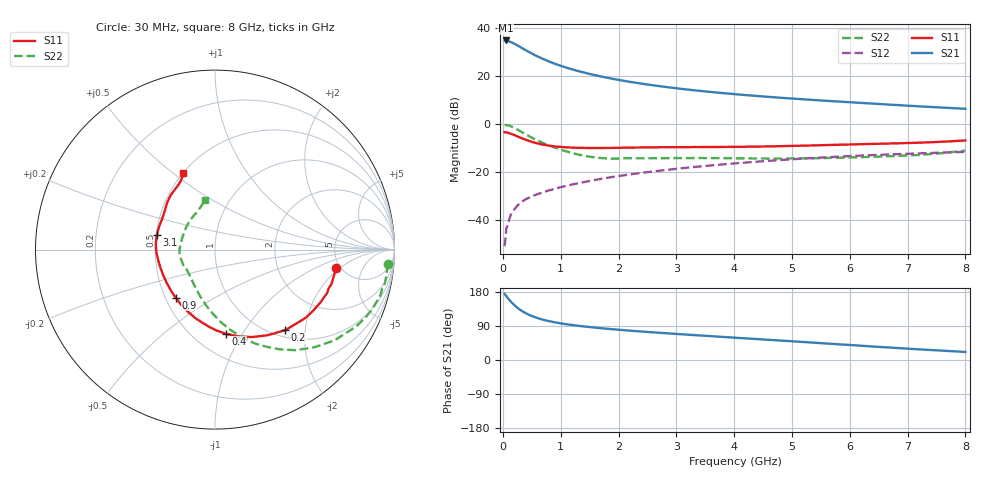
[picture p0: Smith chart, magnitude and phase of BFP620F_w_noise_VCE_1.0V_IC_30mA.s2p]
! Infineon Technologies  Discrete & RF Semiconductors
! BFP620F
! VCE =  1.0 V,  IC =  30 mA
! Common Emitter S-Parameters:  Dec 2014
# GHz  S  MA  R  50
!  f  S11  S21  S12  S22
! GHz  MAG  ANG  MAG  ANG  MAG  ANG  MAG  ANG
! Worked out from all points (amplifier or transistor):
!   95 points, 30 MHz to 8 GHz, reference 50 ohm
!   highest |S21| = 34.9 dB at 50 MHz (marker M1)
!   |S21| within 3 dB of that: start of sweep to 319.5 MHz
!   unconditionally stable (mu >= 1): 2.473 GHz to end of sweep
!   at 300 MHz: K = 0.37, MSG = 32.5 dB, |S12| = -32.8 dB
!   at 3.3 GHz: K = 1.02, MAG = 15.1 dB, |S12| = -17.8 dB
!   at 8 GHz: K = 1.06, MAG = 7.5 dB, |S12| = -11.5 dB
!   lowest NFmin = 1.13 dB at 450 MHz
!   S11 on the Smith chart (normalised r, x): 30 MHz: 4.61, -1.77; 200 MHz: 1.13, -1.57; 400 MHz: 0.70, -0.85; 900 MHz: 0.57, -0.34; 3.1 GHz: 0.50, +0.09; 8 GHz: 0.50, +0.54
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0.03  0.6832 -8.6  55.11 174.4  0.0029 82.2  0.9648 -4.8
0.05  0.6775 -13.7  55.49 170.3  0.0048 81.0  0.9654 -9.1
0.08  0.6695 -21.3  54.72 164.5  0.008 86.5  0.9556 -15.4
0.13  0.6392 -33.8  51.81 155.3  0.0124 77.3  0.9142 -25.1
0.15  0.6269 -38.3  50.69 152.1  0.0138 76.3  0.8935 -28.8
0.2  0.5954 -49.0  47.25 144.7  0.017 70.4  0.8359 -37.3
0.25  0.5593 -58.6  43.88 138.0  0.0201 67.9  0.7754 -44.6
0.3  0.5288 -67.2  40.57 132.3  0.023 66.4  0.7181 -51.3
0.4  0.4728 -82.6  34.58 123.1  0.0278 63.1  0.6115 -62.2
0.5  0.4297 -94.9  29.7 116.1  0.0317 61.4  0.5281 -71.1
0.6  0.3984 -105.6  25.81 110.6  0.0351 60.7  0.4592 -78.7
0.7  0.3755 -114.6  22.73 106.1  0.0386 60.1  0.4056 -85.4
0.9  0.3455 -129.3  18.17 99.4  0.0453 60.5  0.3257 -97.1
1.1  0.3298 -141.0  15.06 94.4  0.0523 60.9  0.2716 -107.9
1.4  0.3221 -154.5  11.94 88.6  0.0625 60.9  0.2222 -123.1
1.9  0.322 -170.6  8.83 81.2  0.0801 60.3  0.1923 -145.9
2.7  0.3319 172.4  6.23 71.9  0.1077 56.9  0.1963 -165.8
3.1  0.3344 165.9  5.434 67.8  0.1217 54.9  0.1978 -172.3
4.1  0.3392 151.8  4.143 58.0  0.1562 49.0  0.195 174.2
5.4  0.3637 138.6  3.189 45.5  0.1994 40.0  0.1965 151.8
6.7  0.3977 125.7  2.557 32.8  0.2356 30.0  0.2165 128.0
8  0.4597 112.5  2.099 21.1  0.2662 20.3  0.2833 100.9
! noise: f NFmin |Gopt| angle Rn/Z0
0.45  1.13  0.05  -172  0.18
0.9  1.16  0.05  -171  0.14
1.5  1.18  0.12  -148  0.15
1.8  1.19  0.12  -147  0.16
1.9  1.19  0.12  -146  0.16
2.4  1.21  0.12  -146  0.17
3.5  1.27  0.14  -141  0.18
5.5  1.42  0.21  241  0.13
6  1.47  0.22  260  0.16
